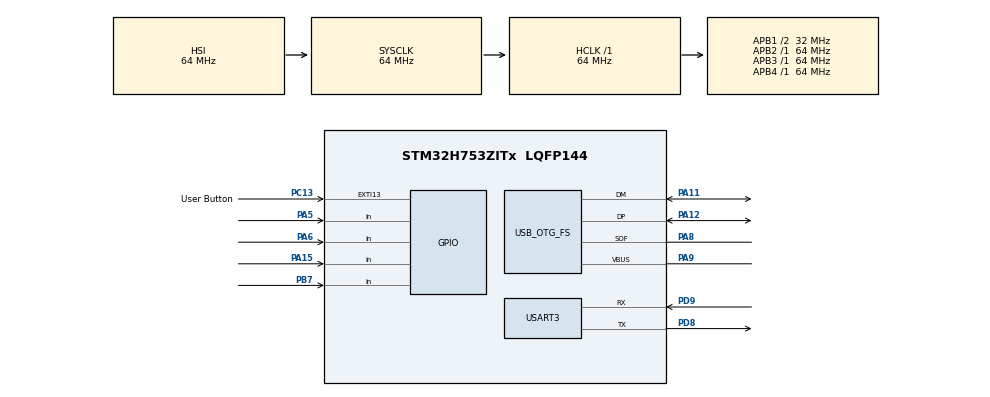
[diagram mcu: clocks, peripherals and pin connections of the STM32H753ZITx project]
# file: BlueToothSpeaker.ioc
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CORTEX_M7.default_mode_Activation=1
Mcu.Family=STM32H7
Mcu.Name=STM32H753ZITx
Mcu.Package=LQFP144
NVIC.PriorityGroup=NVIC_PRIORITYGROUP_4
PA11.Mode=Device_Only
PA11.Signal=USB_OTG_FS_DM
PA12.Mode=Device_Only
PA12.Signal=USB_OTG_FS_DP
PA15\ (JTDI).Signal=GPIO_Input
PA5.Signal=GPIO_Input
PA6.Signal=GPIO_Input
PA8.Mode=Activate_SOF_FS
PA8.Signal=USB_OTG_FS_SOF
PA9.Mode=Activate_VBUS
PA9.Signal=USB_OTG_FS_VBUS
PB7.Signal=GPIO_Input
PC13.GPIO_Label=User Button
PC13.GPIO_ModeDefaultEXTI=GPIO_MODE_IT_RISING_FALLING
PC13.GPIO_PuPd=GPIO_NOPULL
PC13.Signal=GPXTI13
PD8.Mode=Asynchronous
PD8.Signal=USART3_TX
PD9.Mode=Asynchronous
PD9.Signal=USART3_RX
ProjectManager.HeapSize=0x200
ProjectManager.StackSize=0x400
ProjectManager.TargetToolchain=STM32CubeIDE
RCC.ADCFreq_Value=129000000
RCC.APB1Freq_Value=32000000
RCC.APB2Freq_Value=64000000
RCC.APB3Freq_Value=64000000
RCC.APB4Freq_Value=64000000
RCC.CortexFreq_Value=64000000
RCC.D2PPRE1=RCC_APB1_DIV2
RCC.DIVM1=4
RCC.DIVN1=9
RCC.DIVQ1=3
RCC.HCLKFreq_Value=64000000
RCC.PLLFRACN=3072
RCC.PLLSourceVirtual=RCC_PLLSOURCE_HSI
RCC.SYSCLKFreq_VALUE=64000000
RCC.USBCLockSelection=RCC_USBCLKSOURCE_HSI48
RCC.USBFreq_Value=48000000
USART3.VirtualMode-Asynchronous=VM_ASYNC
USB_OTG_FS.VirtualMode=Device_Only
board=custom

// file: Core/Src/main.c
/* USER CODE BEGIN Header */
/**
  ******************************************************************************
  * @file           : main.c
  * @brief          : Main program body
  ******************************************************************************
  * @attention
  *
  * Copyright (c) 2025 STMicroelectronics.
  * All rights reserved.
  *
  * This software is licensed under terms that can be found in the LICENSE file
  * in the root directory of this software component.
  * If no LICENSE file comes with this software, it is provided AS-IS.
  *
  ******************************************************************************
  */
/* USER CODE END Header */
//Standard Header Files
#include "usart.h"
#include "usb_otg.h"
#include "gpio.h"
#include "stm32h7xx_hal.h"

/* USER CODE BEGIN Includes */
//Project Header Files
#include "main.h"
#include "globals.h"
#include "m18_operations.h"
#include "speaker_state.h"
/* USER CODE END Includes */

/* USER CODE BEGIN PV */

uint16_t UART_MAX_DELAY_MS = 1000;

const uint8_t SUCCESSFUL_RESPONSE = 0;

/* USER CODE END PV */

void SystemClock_Config(void);
static void MPU_Config(void);
/* USER CODE BEGIN PFP */

/*
 * stateUpdate: When current state is not idle state update will run m18 call
 * and check if there is a current m18 call that needs to be completed.
 */
void stateUpdate(void){
	uint8_t currentState = getSpeakerState();
	uint8_t callResponse = m18Call(currentState);
	if (callResponse!= SUCCESSFUL_RESPONSE){
	}
	uint8_t taskCompleteResponse = m18TaskCompletionCheck();
	if (taskCompleteResponse==SUCCESSFUL_RESPONSE){
		updateSpeakerState(STATE_IDLE);
	}

}

/* USER CODE END PFP */

int main(void)
{

  /* MPU Configuration--------------------------------------------------------*/
  MPU_Config();

  /* MCU Configuration--------------------------------------------------------*/

  /* Reset of all peripherals, Initializes the Flash interface and the Systick. */
  HAL_Init();

  /* Configure the system clock */
  SystemClock_Config();

  /* Initialize all configured peripherals */
  MX_GPIO_Init();
  MX_USART3_UART_Init();
  MX_USB_OTG_FS_PCD_Init();
  /* USER CODE BEGIN 2 */
  const char startMsg[] = "mainStart\r\n";
  HAL_UART_Transmit(&huart3, &startMsg, sizeof(startMsg)-1,1000);

  /* USER CODE END 2 */

  /* Infinite loop */
  /* USER CODE BEGIN WHILE */
  /*
   * Super loop: Runs stateUpdate if in a non idle state and keeps track of previous state.
   */
  while (1){

    /* USER CODE END WHILE */

    /* USER CODE BEGIN 3 */

	if (getSpeakerState()!= STATE_IDLE){
		  stateUpdate();
	}

  }
  /* USER CODE END 3 */
}

void SystemClock_Config(void)
{
  RCC_OscInitTypeDef RCC_OscInitStruct = {0};
  RCC_ClkInitTypeDef RCC_ClkInitStruct = {0};

  /** Supply configuration update enable
  */
  HAL_PWREx_ConfigSupply(PWR_LDO_SUPPLY);

  /** Configure the main internal regulator output voltage
  */
  __HAL_PWR_VOLTAGESCALING_CONFIG(PWR_REGULATOR_VOLTAGE_SCALE3);

  while(!__HAL_PWR_GET_FLAG(PWR_FLAG_VOSRDY)) {}

  /** Initializes the RCC Oscillators according to the specified parameters
  * in the RCC_OscInitTypeDef structure.
  */
  RCC_OscInitStruct.OscillatorType = RCC_OSCILLATORTYPE_HSI48|RCC_OSCILLATORTYPE_HSI;
  RCC_OscInitStruct.HSIState = RCC_HSI_DIV1;
  RCC_OscInitStruct.HSICalibrationValue = RCC_HSICALIBRATION_DEFAULT;
  RCC_OscInitStruct.HSI48State = RCC_HSI48_ON;
  RCC_OscInitStruct.PLL.PLLState = RCC_PLL_NONE;
  if (HAL_RCC_OscConfig(&RCC_OscInitStruct) != HAL_OK)
  {
    Error_Handler();
  }

  /** Initializes the CPU, AHB and APB buses clocks
  */
  RCC_ClkInitStruct.ClockType = RCC_CLOCKTYPE_HCLK|RCC_CLOCKTYPE_SYSCLK
                              |RCC_CLOCKTYPE_PCLK1|RCC_CLOCKTYPE_PCLK2
                              |RCC_CLOCKTYPE_D3PCLK1|RCC_CLOCKTYPE_D1PCLK1;
  RCC_ClkInitStruct.SYSCLKSource = RCC_SYSCLKSOURCE_HSI;
  RCC_ClkInitStruct.SYSCLKDivider = RCC_SYSCLK_DIV1;
  RCC_ClkInitStruct.AHBCLKDivider = RCC_HCLK_DIV1;
  RCC_ClkInitStruct.APB3CLKDivider = RCC_APB3_DIV1;
  RCC_ClkInitStruct.APB1CLKDivider = RCC_APB1_DIV2;
  RCC_ClkInitStruct.APB2CLKDivider = RCC_APB2_DIV1;
  RCC_ClkInitStruct.APB4CLKDivider = RCC_APB4_DIV1;

  if (HAL_RCC_ClockConfig(&RCC_ClkInitStruct, FLASH_LATENCY_1) != HAL_OK)
  {
    Error_Handler();
  }
}

 /* MPU Configuration */

void MPU_Config(void)
{
  MPU_Region_InitTypeDef MPU_InitStruct = {0};

  /* Disables the MPU */
  HAL_MPU_Disable();

  /** Initializes and configures the Region and the memory to be protected
  */
  MPU_InitStruct.Enable = MPU_REGION_ENABLE;
  MPU_InitStruct.Number = MPU_REGION_NUMBER0;
  MPU_InitStruct.BaseAddress = 0x0;
  MPU_InitStruct.Size = MPU_REGION_SIZE_4GB;
  MPU_InitStruct.SubRegionDisable = 0x87;
  MPU_InitStruct.TypeExtField = MPU_TEX_LEVEL0;
  MPU_InitStruct.AccessPermission = MPU_REGION_NO_ACCESS;
  MPU_InitStruct.DisableExec = MPU_INSTRUCTION_ACCESS_DISABLE;
  MPU_InitStruct.IsShareable = MPU_ACCESS_SHAREABLE;
  MPU_InitStruct.IsCacheable = MPU_ACCESS_NOT_CACHEABLE;
  MPU_InitStruct.IsBufferable = MPU_ACCESS_NOT_BUFFERABLE;

  HAL_MPU_ConfigRegion(&MPU_InitStruct);
  /* Enables the MPU */
  HAL_MPU_Enable(MPU_PRIVILEGED_DEFAULT);

}

void Error_Handler(void)
{
  __disable_irq();
  while (1)
  {
  }
}
